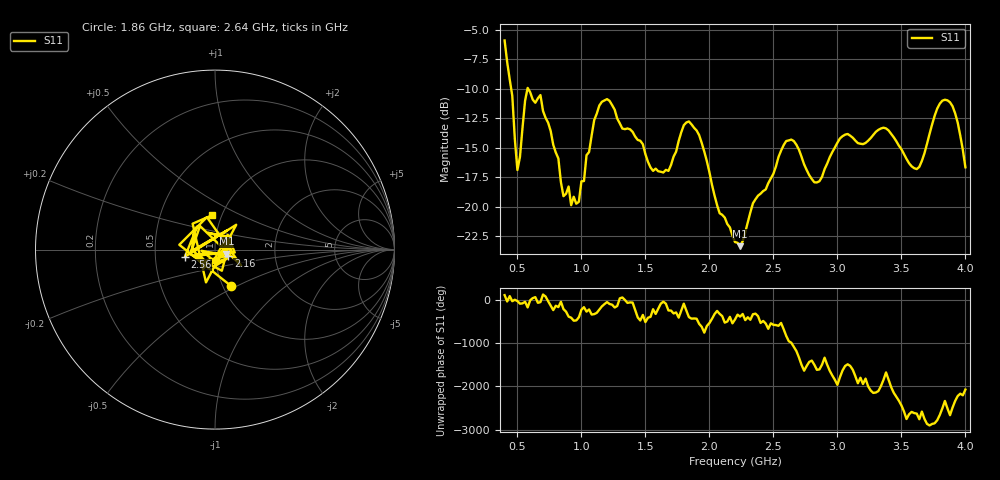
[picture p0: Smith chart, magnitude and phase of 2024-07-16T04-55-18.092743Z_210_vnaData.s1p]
!Created with skrf (http://scikit-rf.org).
# Hz S RI R 50.0
!freq ReS11 ImS11
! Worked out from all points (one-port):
!   181 points, 400 MHz to 4 GHz, reference 50 ohm
!   lowest |S11| = -23.4 dB at 2.24 GHz (marker M1), VSWR 1.15, Z = 56.8 - j2.6 ohm
!   |S11| at or under -10 dB: 451.1 MHz to 578.9 MHz (127.7 MHz wide, 24.8 % of centre); 583.2 MHz to end of sweep
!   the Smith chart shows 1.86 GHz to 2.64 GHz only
!   S11 on the Smith chart (normalised r, x): 1.86 GHz: 1.09, -0.47; 2.16 GHz: 1.16, -0.08; 2.56 GHz: 0.71, -0.06; 2.64 GHz: 0.90, +0.36
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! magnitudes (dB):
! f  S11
! 400 MHz  -5.9
! 460 MHz  -10.6
! 500 MHz  -16.9
! 580 MHz  -9.9
! 680 MHz  -10.5
! 820 MHz  -15.9
! 860 MHz  -19.1
! 980 MHz  -19.6
! 1.16 GHz  -11.1
! 1.3 GHz  -12.9
! 1.56 GHz  -17.0
! 1.68 GHz  -17.0
! 1.76 GHz  -14.4
! 1.86 GHz  -13.0
! 2.16 GHz  -21.8
! 2.2 GHz  -23.0
! 2.24 GHz  -23.4
! 2.56 GHz  -15.3
! 2.64 GHz  -14.3
! 2.66 GHz  -14.4
! 2.84 GHz  -18.0
! 3.1 GHz  -14.0
! 3.38 GHz  -13.4
! 3.56 GHz  -16.3
! 3.64 GHz  -16.6
! 3.84 GHz  -10.9
! 3.92 GHz  -12.1
! 4 GHz  -16.7
